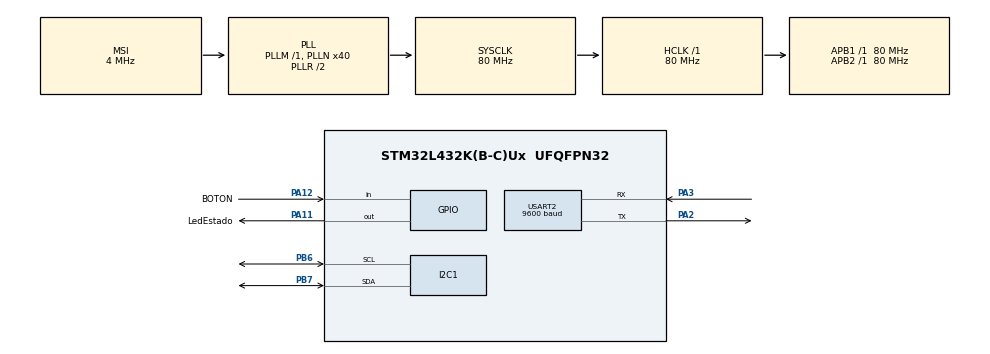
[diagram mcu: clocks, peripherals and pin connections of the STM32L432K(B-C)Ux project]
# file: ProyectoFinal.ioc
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I2C1.Timing=0x10D19CE4
Mcu.Family=STM32L4
Mcu.Name=STM32L432K(B-C)Ux
Mcu.Package=UFQFPN32
NVIC.PriorityGroup=NVIC_PRIORITYGROUP_4
PA11.GPIO_Label=LedEstado
PA11.Signal=GPIO_Output
PA12.GPIO_Label=BOTON
PA12.GPIO_PuPd=GPIO_PULLUP
PA12.Signal=GPIO_Input
PA2.Mode=Asynchronous
PA2.Signal=USART2_TX
PA3.Mode=Asynchronous
PA3.Signal=USART2_RX
PB6.Mode=I2C
PB6.Signal=I2C1_SCL
PB7.Mode=I2C
PB7.Signal=I2C1_SDA
ProjectManager.HeapSize=0x200
ProjectManager.StackSize=0x400
ProjectManager.TargetToolchain=STM32CubeIDE
RCC.AHBFreq_Value=80000000
RCC.APB1Freq_Value=80000000
RCC.APB1TimFreq_Value=80000000
RCC.APB2Freq_Value=80000000
RCC.APB2TimFreq_Value=80000000
RCC.CortexFreq_Value=80000000
RCC.HCLKFreq_Value=80000000
RCC.HSE_VALUE=8000000
RCC.HSI48_VALUE=48000000
RCC.HSI_VALUE=16000000
RCC.LSE_VALUE=32768
RCC.MSI_VALUE=4000000
RCC.PLLN=40
RCC.SYSCLKFreq_VALUE=80000000
RCC.SYSCLKSource=RCC_SYSCLKSOURCE_PLLCLK
RCC.VCOOutputFreq_Value=160000000
USART2.BaudRate=9600
USART2.VirtualMode-Asynchronous=VM_ASYNC
board=custom

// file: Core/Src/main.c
/* USER CODE BEGIN Header */
/**
  ******************************************************************************
  * @file           : main.c
  * @brief          : Main program body
  ******************************************************************************
  * @attention
  *
  * Copyright (c) 2025 STMicroelectronics.
  * All rights reserved.
  *
  * This software is licensed under terms that can be found in the LICENSE file
  * in the root directory of this software component.
  * If no LICENSE file comes with this software, it is provided AS-IS.
  *
  ******************************************************************************
  */
/* USER CODE END Header */
#include "main.h"

/* USER CODE BEGIN Includes */
#include "string.h"
#include <stdio.h>
/* USER CODE END Includes */

/* USER CODE BEGIN PD */
typedef enum {
    ESPERANDO_DEDO,
    MEDICION_EN_CURSO,
    RESULTADO_MOSTRADO
} EstadoSpO2;

EstadoSpO2 estado = ESPERANDO_DEDO;
uint32_t tiempo_inicio = 0;
#define REG_LED1_PA 0x0C // LED Rojo
#define REG_LED2_PA 0x0D // LED IR
#define MAX30102_ADDR         (0x57 << 1)
#define REG_PART_ID           0xFF
#define REG_MODE_CONFIG       0x09 // registros especificos del sensor
#define REG_SPO2_CONFIG       0x0A
#define REG_FIFO_WR_PTR       0x04
#define REG_FIFO_RD_PTR       0x06
#define REG_FIFO_DATA         0x07
#define REG_FIFO_OVERFLOW     0x05
extern I2C_HandleTypeDef hi2c1;
HAL_StatusTypeDef LeerMuestra();
HAL_StatusTypeDef LecturaSensor(uint8_t reg, uint8_t *value);
HAL_StatusTypeDef EscrituraSensor(uint8_t reg, uint8_t value);
HAL_StatusTypeDef InicializacionSensor();
uint8_t fifo_data[6]; // 6 bytes que devuelve, 3 para ir y 3 para red
uint32_t ir_data = 0, red_data = 0;
float spo2_valor = 0.0f;
float CalcularSp02();
//void ConfigurarBluetooth();
void EnviarSpO2PorBluetooth(float spo2_valor);
uint32_t dedoDetectado = 1;
uint8_t estadoMensaje = 0;
float suma_spo2 = 0.0f;
uint16_t contador_muestras = 0;
int ultimo_segundo_mostrado = 11; // Empezamos en 11 para que muestre 10 la primera vez
uint32_t latidos_detectados = 0;
uint8_t pulso_anterior = 0; // 0: sin pulso alto, 1: pulso alto detectado

uint32_t tiempo_dedo_detectado = 0;  // tiempo en que se empezó a detectar el dedo
uint8_t dedo_estable = 0;            // flag para saber si ya estuvo el dedo 2 segundos
uint32_t tiempo_ultimo_latido = 0;
uint32_t valor_ir_min = 0xFFFFFFFF;
uint32_t valor_ir_max = 0;
#define UMBRAL_MINIMO 25000      // Ajustar según pruebas
#define TIEMPO_MIN_LATIDO 250    // ms entre latidos (máx ~200 bpm)
uint8_t msg_esperando_enviado = 0;
uint8_t primera_muestra = 1;  // flag global
uint8_t muestras_dedo_detectadas = 0;
#define MUESTRAS_CONSECUTIVAS_DEDO 5
uint32_t tiempo_boton_liberado = 0;  // Variable global
/* USER CODE END PD */

I2C_HandleTypeDef hi2c1;

UART_HandleTypeDef huart2;

void SystemClock_Config(void);
static void MX_GPIO_Init(void);
static void MX_I2C1_Init(void);
static void MX_USART2_UART_Init(void);

int main(void)
{

  /* MCU Configuration--------------------------------------------------------*/

  /* Reset of all peripherals, Initializes the Flash interface and the Systick. */
  HAL_Init();

  /* Configure the system clock */
  SystemClock_Config();

  /* Initialize all configured peripherals */
  MX_GPIO_Init();
  MX_I2C1_Init();
  MX_USART2_UART_Init();
  /* USER CODE BEGIN 2 */
  //ConfigurarBluetooth();

  if (InicializacionSensor() != HAL_OK) {
      Error_Handler();
  }

 char start_msg[] = "Sensor MAX30102 inicializado.\r\n";
  HAL_UART_Transmit(&huart2, (uint8_t*)start_msg, strlen(start_msg), 100);
  uint32_t tiempo_inicio = HAL_GetTick();

  /* USER CODE END 2 */

  /* Infinite loop */
  /* USER CODE BEGIN WHILE */
  while (1)
  {
	  uint8_t estado_boton_actual = HAL_GPIO_ReadPin(GPIOA, BOTON_Pin);

	    if (estado_boton_actual == 0)  // BOTÓN APRETADO
	    {   HAL_GPIO_WritePin(GPIOA, GPIO_PIN_11, GPIO_PIN_SET);
	        if (HAL_GetTick() - tiempo_boton_liberado < 3000) {
	            continue;  // Esperar estabilización después de encender
	        }

	        uint32_t tiempo_actual = HAL_GetTick();
	        uint32_t tiempo_transcurrido_ms = tiempo_actual - tiempo_inicio;
	        int segundos_restantes = 10 - (tiempo_transcurrido_ms / 1000);

	        if (LeerMuestra(&ir_data, &red_data) != HAL_OK) {
	            char msg[] = "Error leyendo sensor\r\n";
	            HAL_UART_Transmit(&huart2, (uint8_t*)msg, strlen(msg), 100);
	            continue;
	        }

	        int dedo_presente = (ir_data > 45000 && red_data > 45000);

	        switch (estado)
	        {
	            case ESPERANDO_DEDO:
	                if (dedo_presente)
	                {
	                    muestras_dedo_detectadas++;

	                    if (muestras_dedo_detectadas >= MUESTRAS_CONSECUTIVAS_DEDO)
	                    {
	                        if (dedo_estable == 0)
	                        {
	                            tiempo_dedo_detectado = tiempo_actual;
	                            dedo_estable = 1;
	                        }
	                        else if ((tiempo_actual - tiempo_dedo_detectado) >= 3000)
	                        {
	                            char msg[] = "Dedo detectado, iniciando medicion...\r\n";
	                            HAL_UART_Transmit(&huart2, (uint8_t*)msg, strlen(msg), 100);

	                            tiempo_inicio = tiempo_actual;
	                            suma_spo2 = 0.0f;
	                            contador_muestras = 0;
	                            latidos_detectados = 0;
	                            pulso_anterior = 0;
	                            ultimo_segundo_mostrado = 11;

	                            valor_ir_min = ir_data;
	                            valor_ir_max = ir_data;
	                            tiempo_ultimo_latido = 0;
	                            estado = MEDICION_EN_CURSO;
	                            muestras_dedo_detectadas = 0;
	                        }
	                    }
	                }
	                else
	                {
	                    muestras_dedo_detectadas = 0;

	                    if (dedo_estable == 1)
	                    {
	                        char msg[] = "Dedo perdido antes de iniciar medicion\r\n";
	                        HAL_UART_Transmit(&huart2, (uint8_t*)msg, strlen(msg), 100);
	                        dedo_estable = 0;
	                    }
	                    else
	                    {
	                        if (!msg_esperando_enviado)
	                        {
	                            char msg[] = "Esperando dedo...\r\n";
	                            HAL_UART_Transmit(&huart2, (uint8_t*)msg, strlen(msg), 100);
	                            msg_esperando_enviado = 1;
	                        }
	                    }
	                }
	                break;

	            case MEDICION_EN_CURSO:
	                if (!dedo_presente) {
	                    char msg[] = "Dedo perdido, cancelando medicion.\r\n";
	                    HAL_UART_Transmit(&huart2, (uint8_t*)msg, strlen(msg), 100);
	                    estado = ESPERANDO_DEDO;
	                    dedo_estable = 0;
	                    msg_esperando_enviado = 0;
	                }
	                else {
	                    if (segundos_restantes > 0 && segundos_restantes != ultimo_segundo_mostrado) {
	                        char msg[50];
	                        int len = sprintf(msg, "Mantenga el dedo durante %d segundos...\r\n", segundos_restantes);
	                        HAL_UART_Transmit(&huart2, (uint8_t*)msg, len, 100);
	                        ultimo_segundo_mostrado = segundos_restantes;
	                    }

	                    float spo2_temp = CalcularSp02(ir_data, red_data);
	                    if (spo2_temp >= 50.0f && spo2_temp <= 100.0f) {
	                        suma_spo2 += spo2_temp;
	                        contador_muestras++;
	                    }

	                    valor_ir_min = (0.9f * valor_ir_min) + (0.1f * ir_data);
	                    valor_ir_max = (0.9f * valor_ir_max) + (0.1f * ir_data);

	                    uint32_t umbral = (valor_ir_min + valor_ir_max) / 2;
	                    static uint8_t pulso_detectado = 0;

	                    if (!pulso_detectado && ir_data > umbral && umbral > UMBRAL_MINIMO) {
	                        uint32_t tiempo_actual_latido = HAL_GetTick();
	                        if (tiempo_actual_latido - tiempo_ultimo_latido > TIEMPO_MIN_LATIDO) {
	                            latidos_detectados++;
	                            tiempo_ultimo_latido = tiempo_actual_latido;
	                            pulso_detectado = 1;
	                        }
	                    }
	                    else if (pulso_detectado && ir_data < umbral) {
	                        pulso_detectado = 0;
	                    }

	                    if (tiempo_transcurrido_ms >= 10000) {
	                        estado = RESULTADO_MOSTRADO;
	                    }
	                }
	                break;

	            case RESULTADO_MOSTRADO:
	                if (contador_muestras > 0) {
	                    float promedio_spo2 = suma_spo2 / contador_muestras;
	                    float bpm = (latidos_detectados * 60.0f) / 10.0f;

	                    char buffer[80];
	                    int len = sprintf(buffer, "Promedio SpO2: %.1f%% | Pulsaciones: %.1f BPM\r\n", promedio_spo2, bpm);
	                    HAL_UART_Transmit(&huart2, (uint8_t*)buffer, len, 100);
	                }
	                else {
	                    char msg[] = "No se obtuvieron muestras validas.\r\n";
	                    HAL_UART_Transmit(&huart2, (uint8_t*)msg, strlen(msg), 100);
	                }
	                estado = ESPERANDO_DEDO;
	                dedo_estable = 0;
	                break;
	        }

	        HAL_Delay(100);
	    }
	    else // BOTÓN LIBERADO
	    {   HAL_GPIO_WritePin(GPIOA, GPIO_PIN_11, GPIO_PIN_RESET);
	        if (estado != ESPERANDO_DEDO)
	        {
	            estado = ESPERANDO_DEDO;

	            dedo_estable = 0;
	            suma_spo2 = 0.0f;
	            contador_muestras = 0;
	            latidos_detectados = 0;
	            pulso_anterior = 0;
	            ultimo_segundo_mostrado = 11;
	            valor_ir_min = 0xFFFFFFFF;
	            valor_ir_max = 0;
	            ir_data = 0;
	            red_data = 0;
	            tiempo_ultimo_latido = 0;
	            msg_esperando_enviado = 0;
	            primera_muestra = 1;
	            char msg[] = "Boton liberado, medicion reiniciada\r\n";
	            HAL_UART_Transmit(&huart2, (uint8_t*)msg, strlen(msg), 100);
	        }
	        tiempo_boton_liberado = HAL_GetTick();
	    }
	}

    /* USER CODE END WHILE */

}

void SystemClock_Config(void)
{
  RCC_OscInitTypeDef RCC_OscInitStruct = {0};
  RCC_ClkInitTypeDef RCC_ClkInitStruct = {0};

  /** Configure the main internal regulator output voltage
  */
  if (HAL_PWREx_ControlVoltageScaling(PWR_REGULATOR_VOLTAGE_SCALE1) != HAL_OK)
  {
    Error_Handler();
  }

  /** Initializes the RCC Oscillators according to the specified parameters
  * in the RCC_OscInitTypeDef structure.
  */
  RCC_OscInitStruct.OscillatorType = RCC_OSCILLATORTYPE_MSI;
  RCC_OscInitStruct.MSIState = RCC_MSI_ON;
  RCC_OscInitStruct.MSICalibrationValue = 0;
  RCC_OscInitStruct.MSIClockRange = RCC_MSIRANGE_6;
  RCC_OscInitStruct.PLL.PLLState = RCC_PLL_ON;
  RCC_OscInitStruct.PLL.PLLSource = RCC_PLLSOURCE_MSI;
  RCC_OscInitStruct.PLL.PLLM = 1;
  RCC_OscInitStruct.PLL.PLLN = 40;
  RCC_OscInitStruct.PLL.PLLP = RCC_PLLP_DIV7;
  RCC_OscInitStruct.PLL.PLLQ = RCC_PLLQ_DIV2;
  RCC_OscInitStruct.PLL.PLLR = RCC_PLLR_DIV2;
  if (HAL_RCC_OscConfig(&RCC_OscInitStruct) != HAL_OK)
  {
    Error_Handler();
  }

  /** Initializes the CPU, AHB and APB buses clocks
  */
  RCC_ClkInitStruct.ClockType = RCC_CLOCKTYPE_HCLK|RCC_CLOCKTYPE_SYSCLK
                              |RCC_CLOCKTYPE_PCLK1|RCC_CLOCKTYPE_PCLK2;
  RCC_ClkInitStruct.SYSCLKSource = RCC_SYSCLKSOURCE_PLLCLK;
  RCC_ClkInitStruct.AHBCLKDivider = RCC_SYSCLK_DIV1;
  RCC_ClkInitStruct.APB1CLKDivider = RCC_HCLK_DIV1;
  RCC_ClkInitStruct.APB2CLKDivider = RCC_HCLK_DIV1;

  if (HAL_RCC_ClockConfig(&RCC_ClkInitStruct, FLASH_LATENCY_4) != HAL_OK)
  {
    Error_Handler();
  }
}

static void MX_I2C1_Init(void)
{

  hi2c1.Instance = I2C1;
  hi2c1.Init.Timing = 0x10D19CE4;
  hi2c1.Init.OwnAddress1 = 0;
  hi2c1.Init.AddressingMode = I2C_ADDRESSINGMODE_7BIT;
  hi2c1.Init.DualAddressMode = I2C_DUALADDRESS_DISABLE;
  hi2c1.Init.OwnAddress2 = 0;
  hi2c1.Init.OwnAddress2Masks = I2C_OA2_NOMASK;
  hi2c1.Init.GeneralCallMode = I2C_GENERALCALL_DISABLE;
  hi2c1.Init.NoStretchMode = I2C_NOSTRETCH_DISABLE;
  if (HAL_I2C_Init(&hi2c1) != HAL_OK)
  {
    Error_Handler();
  }

  /** Configure Analogue filter
  */
  if (HAL_I2CEx_ConfigAnalogFilter(&hi2c1, I2C_ANALOGFILTER_ENABLE) != HAL_OK)
  {
    Error_Handler();
  }

  /** Configure Digital filter
  */
  if (HAL_I2CEx_ConfigDigitalFilter(&hi2c1, 0) != HAL_OK)
  {
    Error_Handler();
  }

}

static void MX_USART2_UART_Init(void)
{

  huart2.Instance = USART2;
  huart2.Init.BaudRate = 9600;
  huart2.Init.WordLength = UART_WORDLENGTH_8B;
  huart2.Init.StopBits = UART_STOPBITS_1;
  huart2.Init.Parity = UART_PARITY_NONE;
  huart2.Init.Mode = UART_MODE_TX_RX;
  huart2.Init.HwFlowCtl = UART_HWCONTROL_NONE;
  huart2.Init.OverSampling = UART_OVERSAMPLING_16;
  huart2.Init.OneBitSampling = UART_ONE_BIT_SAMPLE_DISABLE;
  huart2.AdvancedInit.AdvFeatureInit = UART_ADVFEATURE_NO_INIT;
  if (HAL_UART_Init(&huart2) != HAL_OK)
  {
    Error_Handler();
  }

}

static void MX_GPIO_Init(void)
{
  GPIO_InitTypeDef GPIO_InitStruct = {0};

  /* GPIO Ports Clock Enable */
  __HAL_RCC_GPIOA_CLK_ENABLE();
  __HAL_RCC_GPIOB_CLK_ENABLE();

  /*Configure GPIO pin Output Level */
  HAL_GPIO_WritePin(LedEstado_GPIO_Port, LedEstado_Pin, GPIO_PIN_RESET);

  /*Configure GPIO pin : LedEstado_Pin */
  GPIO_InitStruct.Pin = LedEstado_Pin;
  GPIO_InitStruct.Mode = GPIO_MODE_OUTPUT_PP;
  GPIO_InitStruct.Pull = GPIO_NOPULL;
  GPIO_InitStruct.Speed = GPIO_SPEED_FREQ_LOW;
  HAL_GPIO_Init(LedEstado_GPIO_Port, &GPIO_InitStruct);

  /*Configure GPIO pin : BOTON_Pin */
  GPIO_InitStruct.Pin = BOTON_Pin;
  GPIO_InitStruct.Mode = GPIO_MODE_INPUT;
  GPIO_InitStruct.Pull = GPIO_PULLUP;
  HAL_GPIO_Init(BOTON_GPIO_Port, &GPIO_InitStruct);

}

/* USER CODE BEGIN 4 */
// Función para escribir un byte en un registro
HAL_StatusTypeDef EscrituraSensor(uint8_t reg, uint8_t value) {
    return HAL_I2C_Mem_Write(&hi2c1, MAX30102_ADDR, reg, I2C_MEMADD_SIZE_8BIT, &value, 1, 100);
}

// Función para leer un byte de un registro
HAL_StatusTypeDef LecturaSensor(uint8_t reg, uint8_t *value) {
    return HAL_I2C_Mem_Read(&hi2c1, MAX30102_ADDR, reg, I2C_MEMADD_SIZE_8BIT, value, 1, 100);
}
// Inicialización básica del sensor
HAL_StatusTypeDef InicializacionSensor(void) {
    uint8_t part_id;
    HAL_StatusTypeDef status;

    // Leer PART_ID
    status = LecturaSensor(REG_PART_ID, &part_id);
    if (status != HAL_OK || part_id != 0x15) return HAL_ERROR;

    // Resetear sensor
    EscrituraSensor(REG_MODE_CONFIG, 0x40);
    HAL_Delay(10);

    // Modo SpO2 (2 LEDs)
    EscrituraSensor(REG_MODE_CONFIG, 0x03);

    // Configurar SpO2: 100 Hz, ADC 18 bits
    EscrituraSensor(REG_SPO2_CONFIG, 0x27);

    // Limpiar punteros FIFO
    EscrituraSensor(REG_FIFO_WR_PTR, 0x00);
    EscrituraSensor(REG_FIFO_RD_PTR, 0x00);
    EscrituraSensor(REG_FIFO_OVERFLOW, 0x00);
    EscrituraSensor(REG_LED1_PA, 0x24);
    EscrituraSensor(REG_LED2_PA, 0x24);

    return HAL_OK;
}
HAL_StatusTypeDef LeerMuestra(uint32_t *ir, uint32_t *red) {
    HAL_StatusTypeDef status;

    status = HAL_I2C_Mem_Read(&hi2c1, MAX30102_ADDR, REG_FIFO_DATA, I2C_MEMADD_SIZE_8BIT, fifo_data, 6, 100);
    if (status != HAL_OK) return status;

    *ir = ((uint32_t)(fifo_data[0] & 0x03) << 16) | (fifo_data[1] << 8) | fifo_data[2];
    *red = ((uint32_t)(fifo_data[3] & 0x03) << 16) | (fifo_data[4] << 8) | fifo_data[5];

    return HAL_OK;
}

float CalcularSp02(uint32_t ir, uint32_t red) {
    if (ir == 0) return 0.0f;
    float ratio = ((float)ir) / ((float)red); //CHUSMEAR LA CONDICION
    float spo2 = 100.0f * ratio;

    if (spo2 > 100.0f) spo2 = 100.0f;
    if (spo2 < 0.0f) spo2 = 0.0f;

    return spo2;
}

//void ConfigurarBluetooth(void) {
//    // Probar comunicación AT
//    char at_test[] = "AT\r\n";
//    HAL_UART_Transmit(&huart2, (uint8_t*)at_test, strlen(at_test), 100);
//    HAL_Delay(200);
//
//    // Cambiar modo a esclavo
//    char at_role[] = "AT+ROLE=0\r\n";   // 0 = esclavo, 1 = maestro
//    HAL_UART_Transmit(&huart2, (uint8_t*)at_role, strlen(at_role), 100);
//    HAL_Delay(200);
//
//    // Cambiar el nombre del módulo
//    char at_name[] = "AT+NAME=MAX_SPO2\r\n";
//    HAL_UART_Transmit(&huart2, (uint8_t*)at_name, strlen(at_name), 100);
//    HAL_Delay(200);
//
//    // Configurar el baudrate a 115200, 1 stop bit, sin paridad
//    char at_uart[] = "AT+UART=115200,0,0\r\n";
//    HAL_UART_Transmit(&huart2, (uint8_t*)at_uart, strlen(at_uart), 100);
//    HAL_Delay(200);
//
//    // Configurar PIN si querés (opcional)
//    char at_pswd[] = "AT+PSWD=1234\r\n";   // Cambia el pin de emparejamiento
//    HAL_UART_Transmit(&huart2, (uint8_t*)at_pswd, strlen(at_pswd), 100);
//    HAL_Delay(200);
//}

void EnviarSpO2PorBluetooth(float spo2_valor) {
    char buffer[20];
    int length;

    // Convertir float a string, por ejemplo con 1 decimal
    length = sprintf(buffer, "SpO2: %.1f%%\r\n", spo2_valor);

    // Enviar por UART
    HAL_UART_Transmit(&huart2, (uint8_t*)buffer, length, 100);
}
/* USER CODE END 4 */

void Error_Handler(void)
{
  __disable_irq();
  while (1)
  {
  }
}
